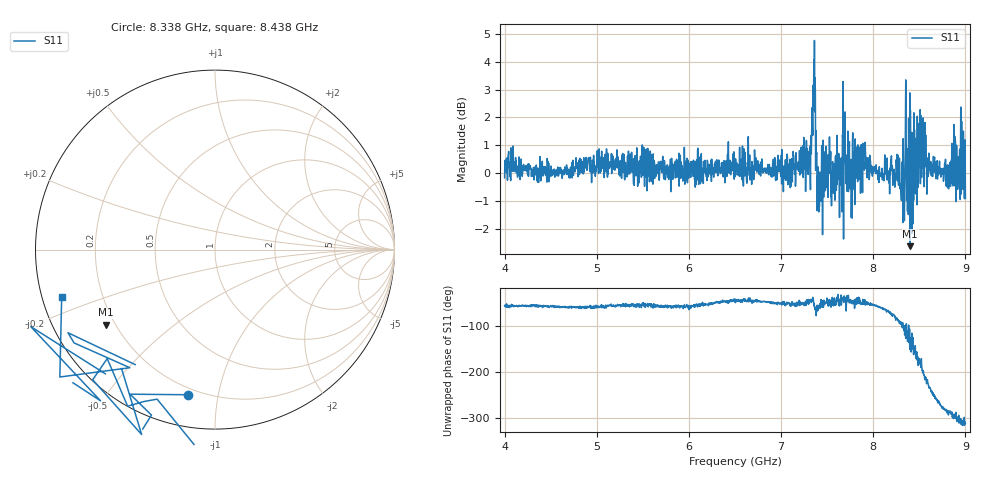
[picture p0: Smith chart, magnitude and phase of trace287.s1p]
! Created with skrf 1.8.0 (http://scikit-rf.org).
# Hz S RI R 50.0
!freq ReS11 ImS11
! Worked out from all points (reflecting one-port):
!   1601 points, 4 GHz to 9 GHz, reference 50 ohm
!   lowest |S11| = -2.6 dB at 8.4 GHz (marker M1), VSWR 6.69, Z = 8.18 - j15.1 ohm
!   phase of S11 starts at -57 deg and turns -255 deg over the sweep
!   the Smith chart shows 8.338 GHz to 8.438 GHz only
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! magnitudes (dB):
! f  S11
! 4 GHz  -0.2
! 4.625 GHz  -0.2
! 5.25 GHz  -0.1
! 5.875 GHz  0.1
! 6.5 GHz  0.3
! 7.125 GHz  0.4
! 7.294 GHz  0.0
! 7.319 GHz  -0.6
! 7.347 GHz  3.1
! 7.372 GHz  2.9
! 7.4 GHz  0.2
! 7.428 GHz  -0.2
! 7.512 GHz  0.7
! 7.559 GHz  0.4
! 7.691 GHz  0.6
! 7.75 GHz  -0.2
! 7.828 GHz  0.4
! 8.266 GHz  0.6
! 8.316 GHz  0.2
! 8.334 GHz  -0.9
! 8.375 GHz  0.0
! 8.4 GHz  -2.6
! 8.447 GHz  1.6
! 8.522 GHz  0.8
! 8.606 GHz  0.1
! 8.812 GHz  0.3
! 8.956 GHz  0.1
! 9 GHz  -0.9
